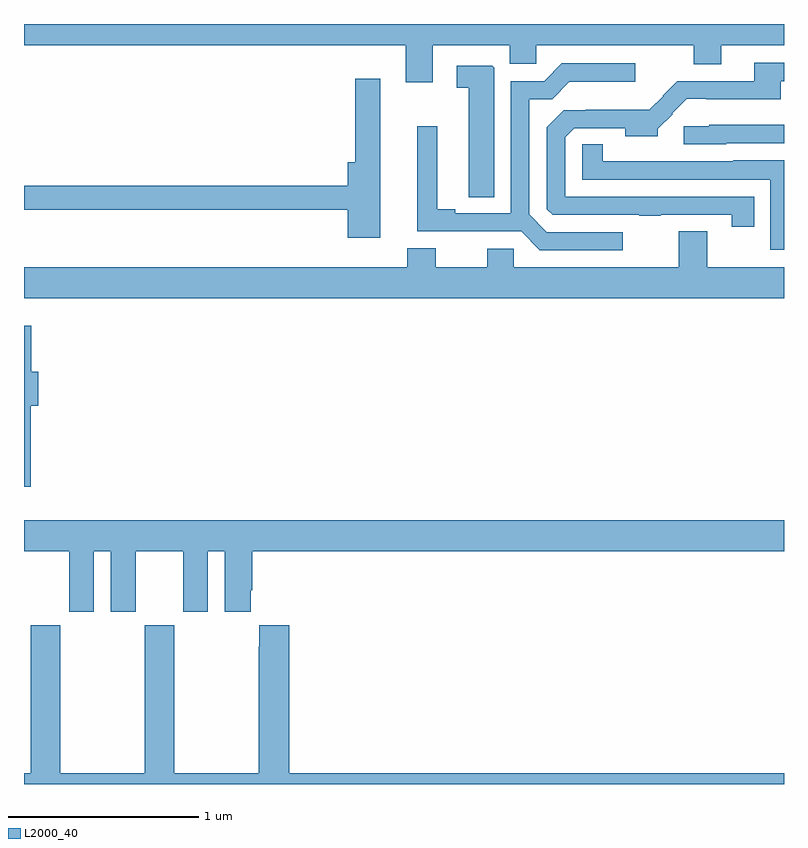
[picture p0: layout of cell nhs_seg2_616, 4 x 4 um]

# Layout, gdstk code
import gdstk
lib = gdstk.Library(unit=1e-6, precision=1e-09)
def P(c, l, *ps):  # polygons
    for p in ps: c.add(gdstk.Polygon(p, *l))
L2000_40 = (2000, 40)

nhs_seg2_616 = lib.new_cell('nhs_seg2_616')
P(nhs_seg2_616, L2000_40, [(143,595.688),(145.01,595.688),(145.01,595.494),(145.15,595.494),(145.15,595.688),(145.556,595.688),(145.556,595.59),(145.695,595.59),(145.695,595.688),(146.524,595.688),(146.524,595.589),(146.671,595.589),(146.671,595.688),(147,595.688),(147,595.8),(143,595.8)],
  [(146.843,594.891),(145.848,594.891),(145.848,595.203),(145.896,595.251),(146.165,595.251),(146.165,595.208),(146.336,595.208),(146.336,595.248),(146.415,595.326),(146.412,595.329),(146.489,595.406),(146.59,595.406),(146.59,595.403),(146.983,595.403),(146.983,595.5),(147,595.5),(147,595.596),(146.843,595.596),(146.843,595.5),(146.439,595.5),(146.363,595.423),(146.365,595.421),(146.291,595.348),(145.957,595.348),(145.957,595.346),(145.841,595.346),(145.752,595.257),(145.752,594.825),(145.782,594.795),(146.239,594.795),(146.239,594.79),(146.351,594.79),(146.351,594.795),(146.725,594.795),(146.725,594.732),(146.843,594.732)],
  [(146.152,594.705),(145.752,594.705),(145.659,594.798),(145.659,595.405),(145.78,595.405),(145.871,595.496),(146.218,595.496),(146.218,595.593),(145.83,595.593),(145.737,595.5),(145.563,595.5),(145.563,594.804),(145.27,594.804),(145.27,594.824),(145.174,594.824),(145.174,595.261),(145.07,595.261),(145.07,594.708),(145.616,594.708),(145.715,594.609),(146.152,594.609)],
  [(145.474,595.571),(145.464,595.581),(145.278,595.581),(145.278,595.465),(145.34,595.465),(145.34,594.889),(145.474,594.889)],
  [(144.874,595.513),(144.743,595.513),(144.743,595.072),(144.704,595.072),(144.704,594.95),(143,594.95),(143,594.822),(144.704,594.822),(144.704,594.674),(144.874,594.674)],
  [(146.697,595.173),(147,595.173),(147,595.27),(146.607,595.27),(146.607,595.263),(146.472,595.263),(146.472,595.167),(146.697,595.167)],
  [(147,595.084),(146.733,595.084),(146.733,595.077),(146.301,595.077),(146.301,595.078),(146.047,595.078),(146.047,595.166),(145.938,595.166),(145.938,594.981),(146.928,594.981),(146.928,594.612),(147,594.612)],
  [(147,594.52),(146.595,594.52),(146.595,594.71),(146.447,594.71),(146.447,594.52),(145.578,594.52),(145.578,594.618),(145.439,594.618),(145.439,594.52),(145.168,594.52),(145.168,594.619),(145.016,594.619),(145.016,594.52),(143,594.52),(143,594.356),(147,594.356)],
  [(143.036,593.792),(143.075,593.792),(143.075,593.97),(143.039,593.97),(143.039,594.211),(143,594.211),(143,593.364),(143.036,593.364)],
  [(143.368,593.024),(143.456,593.024),(143.456,592.707),(143.587,592.707),(143.587,593.024),(143.837,593.024),(143.837,592.707),(143.968,592.707),(143.968,593.024),(144.056,593.024),(144.056,592.707),(144.193,592.707),(144.193,592.819),(144.2,592.819),(144.2,593.024),(147,593.024),(147,593.188),(143,593.188),(143,593.024),(143.237,593.024),(143.237,592.707),(143.368,592.707)],
  [(143.79,592.636),(143.635,592.636),(143.635,591.856),(143.19,591.856),(143.19,592.636),(143.035,592.636),(143.035,591.856),(143,591.856),(143,591.8),(147,591.8),(147,591.856),(144.395,591.856),(144.395,592.636),(144.239,592.636),(144.239,592.523),(144.235,592.523),(144.235,591.856),(143.79,591.856)])

lib.write_gds('nhs_seg2_616.gds')
